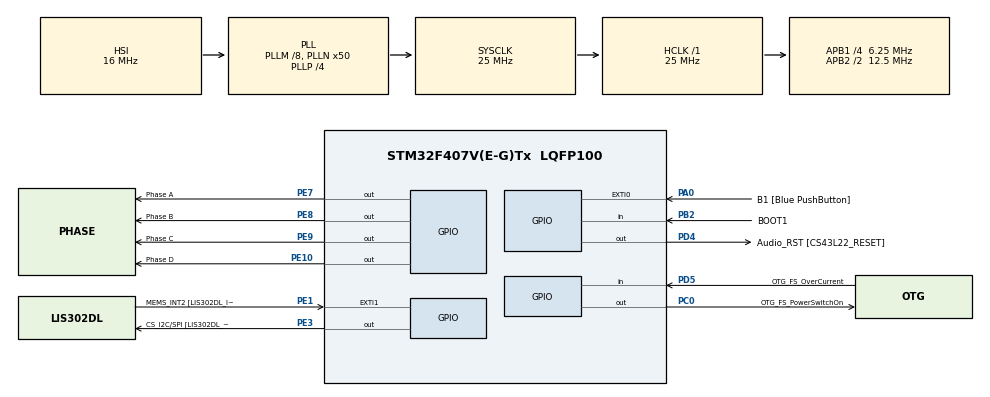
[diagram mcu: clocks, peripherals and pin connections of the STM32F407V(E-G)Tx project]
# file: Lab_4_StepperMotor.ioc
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Mcu.Family=STM32F4
Mcu.Name=STM32F407V(E-G)Tx
Mcu.Package=LQFP100
NVIC.PriorityGroup=NVIC_PRIORITYGROUP_0
PA0-WKUP.GPIO_Label=B1 [Blue PushButton]
PA0-WKUP.Signal=GPXTI0
PA10.GPIO_Label=OTG_FS_ID
PA10.GPIO_Mode=GPIO_MODE_AF_PP
PA10.GPIO_PuPd=GPIO_NOPULL
PA10.GPIO_Speed=GPIO_SPEED_FREQ_LOW
PA10.Signal=USB_OTG_FS_ID
PA11.GPIO_Label=OTG_FS_DM
PA11.GPIO_Mode=GPIO_MODE_AF_PP
PA11.GPIO_PuPd=GPIO_NOPULL
PA11.GPIO_Speed=GPIO_SPEED_FREQ_LOW
PA11.Signal=USB_OTG_FS_DM
PA12.GPIO_Label=OTG_FS_DP
PA12.GPIO_Mode=GPIO_MODE_AF_PP
PA12.GPIO_PuPd=GPIO_NOPULL
PA12.GPIO_Speed=GPIO_SPEED_FREQ_LOW
PA12.Signal=USB_OTG_FS_DP
PA13.GPIO_Label=SWDIO
PA13.Signal=SYS_JTMS-SWDIO
PA14.GPIO_Label=SWCLK
PA14.Signal=SYS_JTCK-SWCLK
PA4.GPIO_Label=I2S3_WS [CS43L22_LRCK]
PA4.GPIO_Mode=GPIO_MODE_AF_PP
PA4.GPIO_PuPd=GPIO_NOPULL
PA4.GPIO_Speed=GPIO_SPEED_FREQ_LOW
PA4.Signal=I2S3_WS
PA5.GPIO_Label=SPI1_SCK [LIS302DL_SCL/SPC]
PA5.GPIO_Mode=GPIO_MODE_AF_PP
PA5.GPIO_PuPd=GPIO_NOPULL
PA5.GPIO_Speed=GPIO_SPEED_FREQ_LOW
PA5.Signal=SPI1_SCK
PA6.GPIO_Label=SPI1_MISO [LIS302DL_SDO]
PA6.GPIO_Mode=GPIO_MODE_AF_PP
PA6.GPIO_PuPd=GPIO_NOPULL
PA6.GPIO_Speed=GPIO_SPEED_FREQ_LOW
PA6.Signal=SPI1_MISO
PA7.GPIO_Label=SPI1_MOSI [LIS302DL_SDA/SDI/SDO]
PA7.GPIO_Mode=GPIO_MODE_AF_PP
PA7.GPIO_PuPd=GPIO_NOPULL
PA7.GPIO_Speed=GPIO_SPEED_FREQ_LOW
PA7.Signal=SPI1_MOSI
PA9.GPIO_Label=VBUS_FS
PA9.GPIO_Mode=GPIO_MODE_INPUT
PA9.GPIO_PuPd=GPIO_NOPULL
PA9.Signal=USB_OTG_FS_VBUS
PB10.GPIO_Label=CLK_IN [MP45DT02_CLK]
PB10.GPIO_Mode=GPIO_MODE_AF_PP
PB10.GPIO_PuPd=GPIO_NOPULL
PB10.GPIO_Speed=GPIO_SPEED_FREQ_LOW
PB10.Signal=I2S2_CK
PB2.GPIO_Label=BOOT1
PB2.GPIO_Mode=GPIO_MODE_INPUT
PB2.GPIO_PuPd=GPIO_NOPULL
PB2.Signal=GPIO_Input
PB3.GPIO_Label=SWO
PB3.Signal=SYS_JTDO-SWO
PB6.GPIO_Label=Audio_SCL [CS43L22_SCL]
PB6.GPIO_Mode=GPIO_MODE_AF_OD
PB6.GPIO_PuPd=GPIO_NOPULL
PB6.GPIO_Speed=GPIO_SPEED_FREQ_LOW
PB6.Signal=I2C1_SCL
PB9.GPIO_Label=Audio_SDA [CS43L22_SDA]
PB9.GPIO_Mode=GPIO_MODE_AF_OD
PB9.GPIO_PuPd=GPIO_NOPULL
PB9.GPIO_Speed=GPIO_SPEED_FREQ_LOW
PB9.Signal=I2C1_SDA
PC0.GPIO_Label=OTG_FS_PowerSwitchOn
PC0.GPIO_PuPd=GPIO_NOPULL
PC0.GPIO_Speed=GPIO_SPEED_FREQ_LOW
PC0.PinState=GPIO_PIN_SET
PC0.Signal=GPIO_Output
PC10.GPIO_Label=I2S3_SCK [CS43L22_SCLK]
PC10.GPIO_Mode=GPIO_MODE_AF_PP
PC10.GPIO_PuPd=GPIO_NOPULL
PC10.GPIO_Speed=GPIO_SPEED_FREQ_LOW
PC10.Signal=I2S3_CK
PC12.GPIO_Label=I2S3_SD [CS43L22_SDIN]
PC12.GPIO_Mode=GPIO_MODE_AF_PP
PC12.GPIO_PuPd=GPIO_NOPULL
PC12.GPIO_Speed=GPIO_SPEED_FREQ_LOW
PC12.Signal=I2S3_SD
PC14-OSC32_IN.GPIO_Label=PC14-OSC32_IN
PC14-OSC32_IN.Signal=RCC_OSC32_IN
PC15-OSC32_OUT.GPIO_Label=PC15-OSC32_OUT
PC15-OSC32_OUT.Signal=RCC_OSC32_OUT
PC3.GPIO_Label=PDM_OUT [MP45DT02_DOUT]
PC3.GPIO_Mode=GPIO_MODE_AF_PP
PC3.GPIO_PuPd=GPIO_NOPULL
PC3.GPIO_Speed=GPIO_SPEED_FREQ_LOW
PC3.Signal=I2S2_SD
PC7.GPIO_Label=I2S3_MCK [CS43L22_MCLK]
PC7.GPIO_Mode=GPIO_MODE_AF_PP
PC7.GPIO_PuPd=GPIO_NOPULL
PC7.GPIO_Speed=GPIO_SPEED_FREQ_LOW
PC7.Signal=I2S3_MCK
PD4.GPIO_Label=Audio_RST [CS43L22_RESET]
PD4.GPIO_PuPd=GPIO_NOPULL
PD4.GPIO_Speed=GPIO_SPEED_FREQ_LOW
PD4.Signal=GPIO_Output
PD5.GPIO_Label=OTG_FS_OverCurrent
PD5.GPIO_Mode=GPIO_MODE_INPUT
PD5.GPIO_PuPd=GPIO_NOPULL
PD5.Signal=GPIO_Input
PE1.GPIO_Label=MEMS_INT2 [LIS302DL_INT2]
PE1.GPIO_ModeDefaultEXTI=GPIO_MODE_EVT_RISING
PE1.GPIO_PuPd=GPIO_NOPULL
PE1.Signal=GPXTI1
PE10.GPIO_Label=Phase D
PE10.Signal=GPIO_Output
PE3.GPIO_Label=CS_I2C/SPI [LIS302DL_CS_I2C/SPI]
PE3.GPIO_PuPd=GPIO_NOPULL
PE3.GPIO_Speed=GPIO_SPEED_FREQ_LOW
PE3.Signal=GPIO_Output
PE7.GPIO_Label=Phase A
PE7.Signal=GPIO_Output
PE8.GPIO_Label=Phase B
PE8.Signal=GPIO_Output
PE9.GPIO_Label=Phase C
PE9.Signal=GPIO_Output
PH0-OSC_IN.GPIO_Label=PH0-OSC_IN
PH0-OSC_IN.Signal=RCC_OSC_IN
PH1-OSC_OUT.GPIO_Label=PH1-OSC_OUT
PH1-OSC_OUT.Signal=RCC_OSC_OUT
ProjectManager.HeapSize=0x200
ProjectManager.StackSize=0x400
ProjectManager.TargetToolchain=STM32CubeIDE
RCC.48MHZClocksFreq_Value=14285714.285714285
RCC.AHBFreq_Value=25000000
RCC.APB1CLKDivider=RCC_HCLK_DIV4
RCC.APB1Freq_Value=6250000
RCC.APB1TimFreq_Value=12500000
RCC.APB2CLKDivider=RCC_HCLK_DIV2
RCC.APB2Freq_Value=12500000
RCC.APB2TimFreq_Value=25000000
RCC.CortexFreq_Value=25000000
RCC.HCLKFreq_Value=25000000
RCC.HSE_VALUE=8000000
RCC.HSI_VALUE=16000000
RCC.LSE_VALUE=32768
RCC.PLLM=8
RCC.PLLN=50
RCC.PLLP=RCC_PLLP_DIV4
RCC.PLLQ=7
RCC.SYSCLKFreq_VALUE=25000000
RCC.SYSCLKSource=RCC_SYSCLKSOURCE_PLLCLK
RCC.VCOOutputFreq_Value=100000000
board=STM32F407G-DISC1

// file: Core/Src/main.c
/* USER CODE BEGIN Header */
/**
  ******************************************************************************
  * @file           : main.c
  * @brief          : Main program body
  ******************************************************************************
  * @attention
  *
  * Copyright (c) 2026 STMicroelectronics.
  * All rights reserved.
  *
  * This software is licensed under terms that can be found in the LICENSE file
  * in the root directory of this software component.
  * If no LICENSE file comes with this software, it is provided AS-IS.
  *
  ******************************************************************************
  */
/* USER CODE END Header */
#include "main.h"

/* USER CODE BEGIN PV */
static const uint8_t step_sequence[8][4] =
{
    {1, 0, 0, 0},
    {1, 1, 0, 0},
    {0, 1, 0, 0},
    {0, 1, 1, 0},
    {0, 0, 1, 0},
    {0, 0, 1, 1},
    {0, 0, 0, 1},
    {1, 0, 0, 1}
};

/* USER CODE END PV */

void SystemClock_Config(void);
static void MX_GPIO_Init(void);

/* USER CODE BEGIN 0 */

static void Stepper_SetStep(uint8_t step)
{
    HAL_GPIO_WritePin(GPIOE, GPIO_PIN_7,
                      step_sequence[step][0] ? GPIO_PIN_SET : GPIO_PIN_RESET);

    HAL_GPIO_WritePin(GPIOE, GPIO_PIN_8,
                      step_sequence[step][1] ? GPIO_PIN_SET : GPIO_PIN_RESET);

    HAL_GPIO_WritePin(GPIOE, GPIO_PIN_9,
                      step_sequence[step][2] ? GPIO_PIN_SET : GPIO_PIN_RESET);

    HAL_GPIO_WritePin(GPIOE, GPIO_PIN_10,
                      step_sequence[step][3] ? GPIO_PIN_SET : GPIO_PIN_RESET);
}

static void Stepper_Step(int direction)
{
    static int step = 0;

    Stepper_SetStep(step);

    if (direction > 0)
    {
        step++;
        if (step >= 8)
            step = 0;
    }
    else
    {
        step--;
        if (step < 0)
            step = 7;
    }
}

/* USER CODE END 0 */

int main(void)
{

  /* MCU Configuration--------------------------------------------------------*/

  /* Reset of all peripherals, Initializes the Flash interface and the Systick. */
  HAL_Init();

  /* Configure the system clock */
  SystemClock_Config();

  /* Initialize all configured peripherals */
  MX_GPIO_Init();

  /* Infinite loop */
  while (1)
  {

    /* USER CODE BEGIN 3 */
	    Stepper_Step(0);
	    HAL_Delay(5);
  }
  /* USER CODE END 3 */
}

void SystemClock_Config(void)
{
  RCC_OscInitTypeDef RCC_OscInitStruct = {0};
  RCC_ClkInitTypeDef RCC_ClkInitStruct = {0};

  /** Configure the main internal regulator output voltage
  */
  __HAL_RCC_PWR_CLK_ENABLE();
  __HAL_PWR_VOLTAGESCALING_CONFIG(PWR_REGULATOR_VOLTAGE_SCALE1);

  /** Initializes the RCC Oscillators according to the specified parameters
  * in the RCC_OscInitTypeDef structure.
  */
  RCC_OscInitStruct.OscillatorType = RCC_OSCILLATORTYPE_HSI;
  RCC_OscInitStruct.HSIState = RCC_HSI_ON;
  RCC_OscInitStruct.HSICalibrationValue = RCC_HSICALIBRATION_DEFAULT;
  RCC_OscInitStruct.PLL.PLLState = RCC_PLL_ON;
  RCC_OscInitStruct.PLL.PLLSource = RCC_PLLSOURCE_HSI;
  RCC_OscInitStruct.PLL.PLLM = 8;
  RCC_OscInitStruct.PLL.PLLN = 50;
  RCC_OscInitStruct.PLL.PLLP = RCC_PLLP_DIV4;
  RCC_OscInitStruct.PLL.PLLQ = 7;
  if (HAL_RCC_OscConfig(&RCC_OscInitStruct) != HAL_OK)
  {
    Error_Handler();
  }

  /** Initializes the CPU, AHB and APB buses clocks
  */
  RCC_ClkInitStruct.ClockType = RCC_CLOCKTYPE_HCLK|RCC_CLOCKTYPE_SYSCLK
                              |RCC_CLOCKTYPE_PCLK1|RCC_CLOCKTYPE_PCLK2;
  RCC_ClkInitStruct.SYSCLKSource = RCC_SYSCLKSOURCE_PLLCLK;
  RCC_ClkInitStruct.AHBCLKDivider = RCC_SYSCLK_DIV1;
  RCC_ClkInitStruct.APB1CLKDivider = RCC_HCLK_DIV4;
  RCC_ClkInitStruct.APB2CLKDivider = RCC_HCLK_DIV2;

  if (HAL_RCC_ClockConfig(&RCC_ClkInitStruct, FLASH_LATENCY_0) != HAL_OK)
  {
    Error_Handler();
  }
}

static void MX_GPIO_Init(void)
{
  GPIO_InitTypeDef GPIO_InitStruct = {0};

  /* GPIO Ports Clock Enable */
  __HAL_RCC_GPIOE_CLK_ENABLE();
  __HAL_RCC_GPIOC_CLK_ENABLE();
  __HAL_RCC_GPIOH_CLK_ENABLE();
  __HAL_RCC_GPIOA_CLK_ENABLE();
  __HAL_RCC_GPIOB_CLK_ENABLE();
  __HAL_RCC_GPIOD_CLK_ENABLE();

  /*Configure GPIO pin Output Level */
  HAL_GPIO_WritePin(GPIOE, CS_I2C_SPI_Pin|Phase_A_Pin|Phase_B_Pin|Phase_C_Pin
                          |Phase_D_Pin, GPIO_PIN_RESET);

  /*Configure GPIO pin Output Level */
  HAL_GPIO_WritePin(OTG_FS_PowerSwitchOn_GPIO_Port, OTG_FS_PowerSwitchOn_Pin, GPIO_PIN_SET);

  /*Configure GPIO pin Output Level */
  HAL_GPIO_WritePin(GPIOD, Phase_AD12_Pin|Phase_BD13_Pin|Phase_CD14_Pin|Phase_DD15_Pin
                          |Audio_RST_Pin, GPIO_PIN_RESET);

  /*Configure GPIO pins : CS_I2C_SPI_Pin Phase_A_Pin Phase_B_Pin Phase_C_Pin
                           Phase_D_Pin */
  GPIO_InitStruct.Pin = CS_I2C_SPI_Pin|Phase_A_Pin|Phase_B_Pin|Phase_C_Pin
                          |Phase_D_Pin;
  GPIO_InitStruct.Mode = GPIO_MODE_OUTPUT_PP;
  GPIO_InitStruct.Pull = GPIO_NOPULL;
  GPIO_InitStruct.Speed = GPIO_SPEED_FREQ_LOW;
  HAL_GPIO_Init(GPIOE, &GPIO_InitStruct);

  /*Configure GPIO pin : OTG_FS_PowerSwitchOn_Pin */
  GPIO_InitStruct.Pin = OTG_FS_PowerSwitchOn_Pin;
  GPIO_InitStruct.Mode = GPIO_MODE_OUTPUT_PP;
  GPIO_InitStruct.Pull = GPIO_NOPULL;
  GPIO_InitStruct.Speed = GPIO_SPEED_FREQ_LOW;
  HAL_GPIO_Init(OTG_FS_PowerSwitchOn_GPIO_Port, &GPIO_InitStruct);

  /*Configure GPIO pin : PDM_OUT_Pin */
  GPIO_InitStruct.Pin = PDM_OUT_Pin;
  GPIO_InitStruct.Mode = GPIO_MODE_AF_PP;
  GPIO_InitStruct.Pull = GPIO_NOPULL;
  GPIO_InitStruct.Speed = GPIO_SPEED_FREQ_LOW;
  GPIO_InitStruct.Alternate = GPIO_AF5_SPI2;
  HAL_GPIO_Init(PDM_OUT_GPIO_Port, &GPIO_InitStruct);

  /*Configure GPIO pin : B1_Pin */
  GPIO_InitStruct.Pin = B1_Pin;
  GPIO_InitStruct.Mode = GPIO_MODE_IT_RISING;
  GPIO_InitStruct.Pull = GPIO_NOPULL;
  HAL_GPIO_Init(B1_GPIO_Port, &GPIO_InitStruct);

  /*Configure GPIO pin : I2S3_WS_Pin */
  GPIO_InitStruct.Pin = I2S3_WS_Pin;
  GPIO_InitStruct.Mode = GPIO_MODE_AF_PP;
  GPIO_InitStruct.Pull = GPIO_NOPULL;
  GPIO_InitStruct.Speed = GPIO_SPEED_FREQ_LOW;
  GPIO_InitStruct.Alternate = GPIO_AF6_SPI3;
  HAL_GPIO_Init(I2S3_WS_GPIO_Port, &GPIO_InitStruct);

  /*Configure GPIO pins : SPI1_SCK_Pin SPI1_MISO_Pin SPI1_MOSI_Pin */
  GPIO_InitStruct.Pin = SPI1_SCK_Pin|SPI1_MISO_Pin|SPI1_MOSI_Pin;
  GPIO_InitStruct.Mode = GPIO_MODE_AF_PP;
  GPIO_InitStruct.Pull = GPIO_NOPULL;
  GPIO_InitStruct.Speed = GPIO_SPEED_FREQ_LOW;
  GPIO_InitStruct.Alternate = GPIO_AF5_SPI1;
  HAL_GPIO_Init(GPIOA, &GPIO_InitStruct);

  /*Configure GPIO pin : BOOT1_Pin */
  GPIO_InitStruct.Pin = BOOT1_Pin;
  GPIO_InitStruct.Mode = GPIO_MODE_INPUT;
  GPIO_InitStruct.Pull = GPIO_NOPULL;
  HAL_GPIO_Init(BOOT1_GPIO_Port, &GPIO_InitStruct);

  /*Configure GPIO pin : CLK_IN_Pin */
  GPIO_InitStruct.Pin = CLK_IN_Pin;
  GPIO_InitStruct.Mode = GPIO_MODE_AF_PP;
  GPIO_InitStruct.Pull = GPIO_NOPULL;
  GPIO_InitStruct.Speed = GPIO_SPEED_FREQ_LOW;
  GPIO_InitStruct.Alternate = GPIO_AF5_SPI2;
  HAL_GPIO_Init(CLK_IN_GPIO_Port, &GPIO_InitStruct);

  /*Configure GPIO pins : Phase_AD12_Pin Phase_BD13_Pin Phase_CD14_Pin Phase_DD15_Pin
                           Audio_RST_Pin */
  GPIO_InitStruct.Pin = Phase_AD12_Pin|Phase_BD13_Pin|Phase_CD14_Pin|Phase_DD15_Pin
                          |Audio_RST_Pin;
  GPIO_InitStruct.Mode = GPIO_MODE_OUTPUT_PP;
  GPIO_InitStruct.Pull = GPIO_NOPULL;
  GPIO_InitStruct.Speed = GPIO_SPEED_FREQ_LOW;
  HAL_GPIO_Init(GPIOD, &GPIO_InitStruct);

  /*Configure GPIO pins : I2S3_MCK_Pin I2S3_SCK_Pin I2S3_SD_Pin */
  GPIO_InitStruct.Pin = I2S3_MCK_Pin|I2S3_SCK_Pin|I2S3_SD_Pin;
  GPIO_InitStruct.Mode = GPIO_MODE_AF_PP;
  GPIO_InitStruct.Pull = GPIO_NOPULL;
  GPIO_InitStruct.Speed = GPIO_SPEED_FREQ_LOW;
  GPIO_InitStruct.Alternate = GPIO_AF6_SPI3;
  HAL_GPIO_Init(GPIOC, &GPIO_InitStruct);

  /*Configure GPIO pin : VBUS_FS_Pin */
  GPIO_InitStruct.Pin = VBUS_FS_Pin;
  GPIO_InitStruct.Mode = GPIO_MODE_INPUT;
  GPIO_InitStruct.Pull = GPIO_NOPULL;
  HAL_GPIO_Init(VBUS_FS_GPIO_Port, &GPIO_InitStruct);

  /*Configure GPIO pins : OTG_FS_ID_Pin OTG_FS_DM_Pin OTG_FS_DP_Pin */
  GPIO_InitStruct.Pin = OTG_FS_ID_Pin|OTG_FS_DM_Pin|OTG_FS_DP_Pin;
  GPIO_InitStruct.Mode = GPIO_MODE_AF_PP;
  GPIO_InitStruct.Pull = GPIO_NOPULL;
  GPIO_InitStruct.Speed = GPIO_SPEED_FREQ_LOW;
  GPIO_InitStruct.Alternate = GPIO_AF10_OTG_FS;
  HAL_GPIO_Init(GPIOA, &GPIO_InitStruct);

  /*Configure GPIO pin : OTG_FS_OverCurrent_Pin */
  GPIO_InitStruct.Pin = OTG_FS_OverCurrent_Pin;
  GPIO_InitStruct.Mode = GPIO_MODE_INPUT;
  GPIO_InitStruct.Pull = GPIO_NOPULL;
  HAL_GPIO_Init(OTG_FS_OverCurrent_GPIO_Port, &GPIO_InitStruct);

  /*Configure GPIO pins : Audio_SCL_Pin Audio_SDA_Pin */
  GPIO_InitStruct.Pin = Audio_SCL_Pin|Audio_SDA_Pin;
  GPIO_InitStruct.Mode = GPIO_MODE_AF_OD;
  GPIO_InitStruct.Pull = GPIO_NOPULL;
  GPIO_InitStruct.Speed = GPIO_SPEED_FREQ_LOW;
  GPIO_InitStruct.Alternate = GPIO_AF4_I2C1;
  HAL_GPIO_Init(GPIOB, &GPIO_InitStruct);

  /*Configure GPIO pin : MEMS_INT2_Pin */
  GPIO_InitStruct.Pin = MEMS_INT2_Pin;
  GPIO_InitStruct.Mode = GPIO_MODE_EVT_RISING;
  GPIO_InitStruct.Pull = GPIO_NOPULL;
  HAL_GPIO_Init(MEMS_INT2_GPIO_Port, &GPIO_InitStruct);

}

void Error_Handler(void)
{
  __disable_irq();
  while (1)
  {
  }
}
